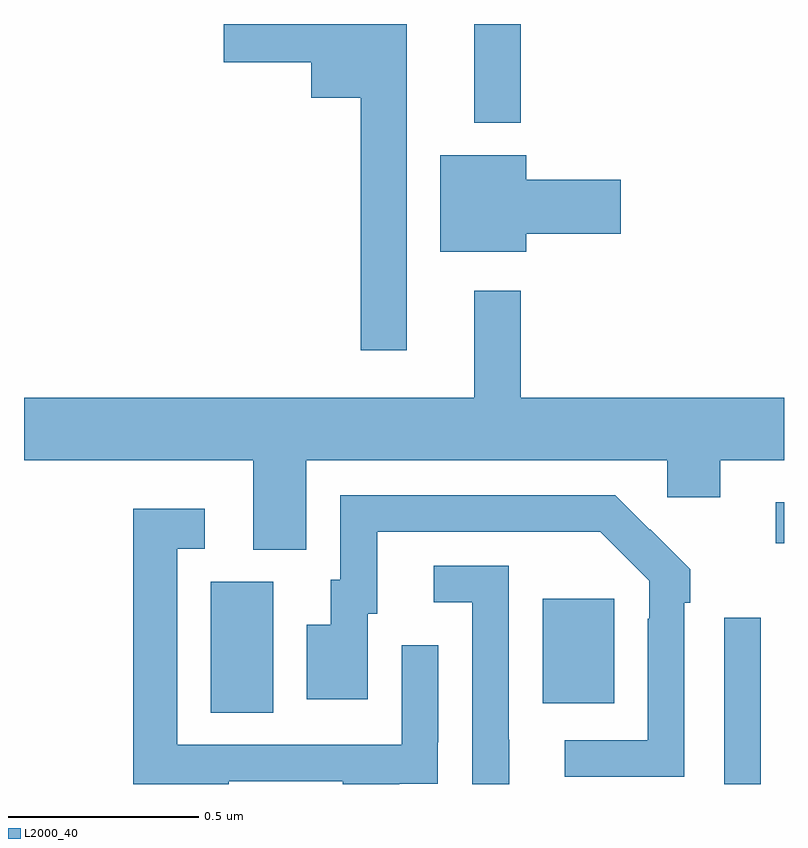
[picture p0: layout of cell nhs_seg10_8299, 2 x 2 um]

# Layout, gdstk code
import gdstk
lib = gdstk.Library(unit=1e-6, precision=1e-09)
def R(c, l, rs):  # rectangles x0, y0, x1, y1
    for r in rs: c.add(gdstk.rectangle(r[:2], r[2:], *l))
def P(c, l, *ps):  # polygons
    for p in ps: c.add(gdstk.Polygon(p, *l))
L2000_40 = (2000, 40)

nhs_seg10_8299 = lib.new_cell('nhs_seg10_8299')
R(nhs_seg10_8299, L2000_40, [(216.843,1263.5,216.939,1263.937), (215.492,1263.688,215.656,1264.032), (216.365,1263.713,216.553,1263.988), (216.978,1264.134,217,1264.242), (216.185,1265.24,216.307,1265.5)])
P(nhs_seg10_8299, L2000_40, [(216.007,1265.5),(215.526,1265.5),(215.526,1265.399),(215.756,1265.399),(215.756,1265.306),(215.886,1265.306),(215.886,1264.641),(216.007,1264.641)],
  [(216.322,1264.948),(216.571,1264.948),(216.571,1265.09),(216.322,1265.09),(216.322,1265.155),(216.095,1265.155),(216.095,1264.901),(216.322,1264.901)],
  [(215.743,1264.352),(216.693,1264.352),(216.693,1264.254),(216.832,1264.254),(216.832,1264.352),(217,1264.352),(217,1264.516),(216.307,1264.516),(216.307,1264.798),(216.185,1264.798),(216.185,1264.516),(215,1264.516),(215,1264.352),(215.603,1264.352),(215.603,1264.117),(215.743,1264.117)],
  [(216.738,1263.977),(216.753,1263.977),(216.753,1264.065),(216.648,1264.17),(216.647,1264.169),(216.556,1264.26),(215.832,1264.26),(215.832,1264.038),(215.807,1264.038),(215.807,1263.919),(215.744,1263.919),(215.744,1263.723),(215.905,1263.723),(215.905,1263.948),(215.929,1263.948),(215.929,1264.164),(216.517,1264.164),(216.645,1264.035),(216.645,1263.935),(216.642,1263.935),(216.642,1263.615),(216.423,1263.615),(216.423,1263.519),(216.738,1263.519)],
  [(215.539,1263.507),(215.839,1263.507),(215.839,1263.5),(215.987,1263.5),(215.987,1263.501),(216.089,1263.501),(216.089,1263.61),(216.09,1263.61),(216.09,1263.865),(215.994,1263.865),(215.994,1263.603),(215.403,1263.603),(215.403,1264.119),(215.476,1264.119),(215.476,1264.225),(215.287,1264.225),(215.287,1263.5),(215.539,1263.5)],
  [(216.277,1263.617),(216.276,1263.617),(216.276,1264.074),(216.078,1264.074),(216.078,1263.978),(216.18,1263.978),(216.18,1263.5),(216.277,1263.5)])

lib.write_gds('nhs_seg10_8299.gds')
